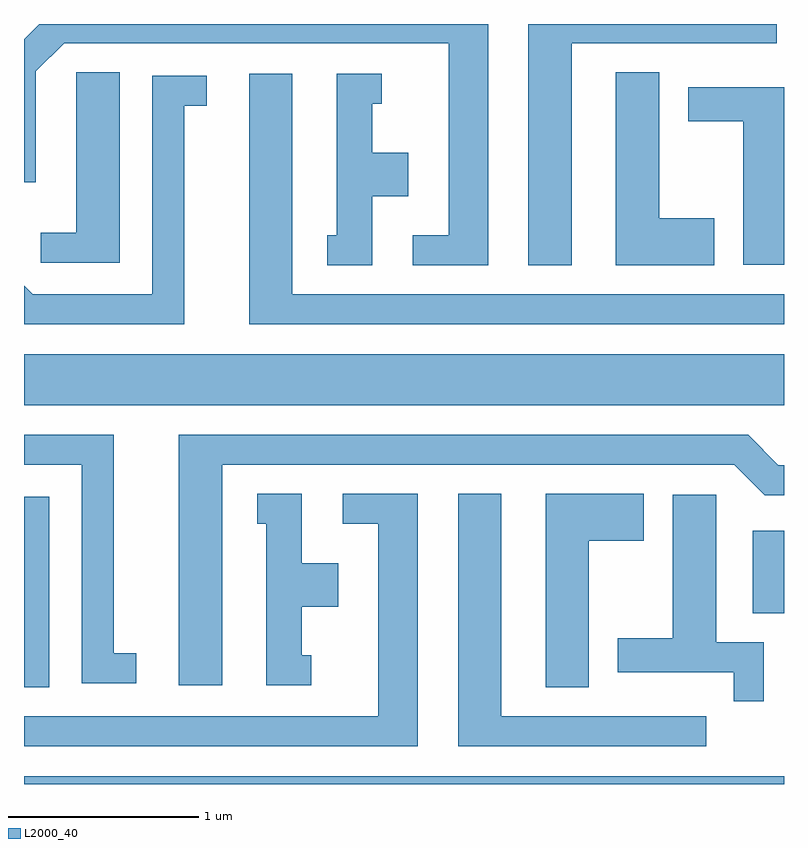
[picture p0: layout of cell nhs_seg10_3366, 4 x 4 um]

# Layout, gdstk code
import gdstk
lib = gdstk.Library(unit=1e-6, precision=1e-09)
def R(c, l, rs):  # rectangles x0, y0, x1, y1
    for r in rs: c.add(gdstk.rectangle(r[:2], r[2:], *l))
def P(c, l, *ps):  # polygons
    for p in ps: c.add(gdstk.Polygon(p, *l))
L2000_40 = (2000, 40)

nhs_seg10_3366 = lib.new_cell('nhs_seg10_3366')
R(nhs_seg10_3366, L2000_40, [(283.611,2178.522,287.611,2178.564), (283.611,2179.031,283.744,2180.034), (287.446,2179.421,287.611,2179.854), (283.611,2180.516,287.611,2180.784)])
P(nhs_seg10_3366, L2000_40, [(286.494,2182.421),(287.573,2182.421),(287.573,2182.522),(286.266,2182.522),(286.266,2181.251),(286.494,2181.251)],
  [(286.054,2182.522),(283.692,2182.522),(283.611,2182.441),(283.611,2181.688),(283.674,2181.688),(283.674,2182.274),(283.822,2182.421),(285.846,2182.421),(285.846,2181.409),(285.658,2181.409),(285.658,2181.251),(286.054,2181.251)],
  [(284.114,2182.269),(283.886,2182.269),(283.886,2181.424),(283.698,2181.424),(283.698,2181.266),(284.114,2181.266)],
  [(287.244,2181.499),(286.954,2181.499),(286.954,2182.269),(286.726,2182.269),(286.726,2181.251),(287.244,2181.251)],
  [(287.611,2181.099),(285.024,2181.099),(285.024,2182.259),(284.796,2182.259),(284.796,2180.941),(287.611,2180.941)],
  [(285.444,2181.616),(285.634,2181.616),(285.634,2181.844),(285.444,2181.844),(285.444,2182.101),(285.493,2182.101),(285.493,2182.259),(285.256,2182.259),(285.256,2181.409),(285.208,2181.409),(285.208,2181.251),(285.444,2181.251)],
  [(284.454,2182.091),(284.573,2182.091),(284.573,2182.249),(284.286,2182.249),(284.286,2181.099),(283.657,2181.099),(283.611,2181.145),(283.611,2180.941),(284.454,2180.941)],
  [(287.611,2182.189),(287.106,2182.189),(287.106,2182.011),(287.396,2182.011),(287.396,2181.256),(287.611,2181.256)],
  [(284.203,2179.209),(284.084,2179.209),(284.084,2180.359),(283.611,2180.359),(283.611,2180.201),(283.916,2180.201),(283.916,2179.051),(284.203,2179.051)],
  [(284.654,2180.201),(287.349,2180.201),(287.509,2180.041),(287.611,2180.041),(287.611,2180.199),(287.582,2180.199),(287.422,2180.359),(284.426,2180.359),(284.426,2179.041),(284.654,2179.041)],
  [(285.123,2179.199),(285.074,2179.199),(285.074,2179.456),(285.264,2179.456),(285.264,2179.684),(285.074,2179.684),(285.074,2180.049),(284.838,2180.049),(284.838,2179.891),(284.886,2179.891),(284.886,2179.041),(285.123,2179.041)],
  [(286.584,2179.801),(286.874,2179.801),(286.874,2180.049),(286.356,2180.049),(286.356,2179.031),(286.584,2179.031)],
  [(287.203,2178.879),(286.124,2178.879),(286.124,2180.049),(285.896,2180.049),(285.896,2178.721),(287.203,2178.721)],
  [(285.684,2180.049),(285.288,2180.049),(285.288,2179.891),(285.476,2179.891),(285.476,2178.879),(283.611,2178.879),(283.611,2178.721),(285.684,2178.721)],
  [(287.504,2179.269),(287.254,2179.269),(287.254,2180.044),(287.026,2180.044),(287.026,2179.289),(286.736,2179.289),(286.736,2179.111),(287.346,2179.111),(287.346,2178.958),(287.504,2178.958)])

lib.write_gds('nhs_seg10_3366.gds')
